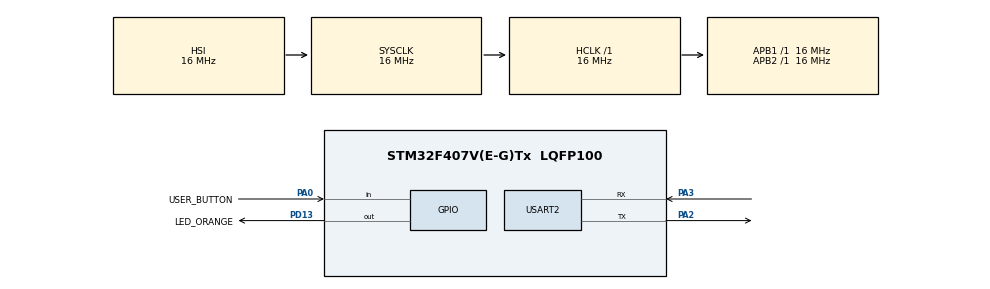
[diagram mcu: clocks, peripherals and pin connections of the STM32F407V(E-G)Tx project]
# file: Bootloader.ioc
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Mcu.Family=STM32F4
Mcu.Name=STM32F407V(E-G)Tx
Mcu.Package=LQFP100
NVIC.PriorityGroup=NVIC_PRIORITYGROUP_4
NVIC.USART2_IRQn=true\:0\:0\:false\:false\:true\:true\:true\:true
PA0-WKUP.GPIO_Label=USER_BUTTON
PA0-WKUP.GPIO_PuPd=GPIO_PULLDOWN
PA0-WKUP.Signal=GPIO_Input
PA2.Mode=Asynchronous
PA2.Signal=USART2_TX
PA3.Mode=Asynchronous
PA3.Signal=USART2_RX
PD13.GPIO_Label=LED_ORANGE
PD13.Signal=GPIO_Output
ProjectManager.HeapSize=0x200
ProjectManager.StackSize=0x400
ProjectManager.TargetToolchain=STM32CubeIDE
RCC.AHBFreq_Value=16000000
RCC.APB1Freq_Value=16000000
RCC.APB2Freq_Value=16000000
RCC.CortexFreq_Value=16000000
RCC.HSE_VALUE=25000000
RCC.HSI_VALUE=16000000
RCC.LSE_VALUE=32768
RCC.SYSCLKFreq_VALUE=16000000
RCC.VCOOutputFreq_Value=192000000
USART2.VirtualMode=VM_ASYNC
board=custom

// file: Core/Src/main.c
/* USER CODE BEGIN Header */
/**
  ******************************************************************************
  * @file           : main.c
  * @brief          : Main program body
  ******************************************************************************
  * @attention
  *
  * Copyright (c) 2025 STMicroelectronics.
  * All rights reserved.
  *
  * This software is licensed under terms that can be found in the LICENSE file
  * in the root directory of this software component.
  * If no LICENSE file comes with this software, it is provided AS-IS.
  *
  ******************************************************************************
  */
/* USER CODE END Header */
#include "main.h"

/* USER CODE BEGIN Includes */
#include <string.h>
#include <stdio.h>
/* USER CODE END Includes */

UART_HandleTypeDef huart2;

void SystemClock_Config(void);
static void MX_GPIO_Init(void);
static void MX_USART2_UART_Init(void);

/* USER CODE BEGIN 0 */

#define APPLICATION_ADDRESS   0x08008000

void bootloader_jump_to_application(void)
{
	// Function pointer type for void func(void)
	typedef void (*pFunction)(void);
	pFunction jump_to_application;
	uint32_t jump_address;

	// Get the application's reset handler address
	// From PM0214 page 40: Vector table structure
	// Offset 0x00: Initial Stack Pointer
	// Offset 0x04: Reset Handler
	jump_address = *(__IO uint32_t*)(APPLICATION_ADDRESS + 4);

	// Create function pointer
	jump_to_application = (pFunction)jump_address;

	// Deinitialize HAL (important!)
	HAL_DeInit();

	// Reset clock configuration to default (HSI)
	HAL_RCC_DeInit();

	// Disable and reset SysTick timer
	// This fixes HAL_Delay() timing issues in the application
	SysTick->CTRL = 0;      // Disable SysTick
	SysTick->LOAD = 0;      // Clear reload value
	SysTick->VAL = 0;       // Clear current value

	// Disable all interrupts
	// From PM0214 page 24: PRIMASK register
	__disable_irq();

	// Relocate vector table to application address
	// From RM0090 page 199: VTOR register
	SCB->VTOR = APPLICATION_ADDRESS;

	// Set the stack pointer to the application's initial stack pointer
	// From PM0214 page 40: First word at application address is stack pointer
	// From PM0214 page 29: MSP (Main Stack Pointer)
	__set_MSP(*(__IO uint32_t*)APPLICATION_ADDRESS);

	// Jump to application!
	jump_to_application();
}

uint8_t bootloader_erase_flash(void)
{
    HAL_StatusTypeDef status;
    uint32_t sector_error = 0;

    // From RM0090 page 75: Flash sector organization
    // Application uses sectors 2-11 (0x08008000 onwards)

    FLASH_EraseInitTypeDef erase_config;
    erase_config.TypeErase = FLASH_TYPEERASE_SECTORS;
    erase_config.VoltageRange = FLASH_VOLTAGE_RANGE_3;  // 2.7-3.6V
    erase_config.Sector = FLASH_SECTOR_2;               // Start sector
    erase_config.NbSectors = 10;                         // Erase sectors 2-11

    // Unlock flash for writing
    HAL_FLASH_Unlock();

    // Erase the sectors
    status = HAL_FLASHEx_Erase(&erase_config, &sector_error);

    // Lock flash again
    HAL_FLASH_Lock();

    if(status == HAL_OK)
    {
        return 1;  // Success
    }
    else
    {
        return 0;  // Failed
    }
}

uint8_t bootloader_write_flash(uint32_t address, uint8_t *data, uint32_t length)
{
    HAL_StatusTypeDef status;

    // Unlock flash
    HAL_FLASH_Unlock();

    // Clear any pending flash errors
    __HAL_FLASH_CLEAR_FLAG(FLASH_FLAG_EOP | FLASH_FLAG_OPERR | FLASH_FLAG_WRPERR |
                           FLASH_FLAG_PGAERR | FLASH_FLAG_PGPERR | FLASH_FLAG_PGSERR);

    // Write data word by word
    for(uint32_t i = 0; i < length; i += 4)
    {
        uint32_t word_data;
        uint32_t bytes_left = length - i;

        if(bytes_left >= 4)
        {
            word_data = (uint32_t)data[i] |
                       ((uint32_t)data[i+1] << 8) |
                       ((uint32_t)data[i+2] << 16) |
                       ((uint32_t)data[i+3] << 24);
        }
        else
        {
            word_data = 0xFFFFFFFF;
            for(uint32_t j = 0; j < bytes_left; j++)
            {
                word_data &= ~(0xFF << (j * 8));
                word_data |= ((uint32_t)data[i + j] << (j * 8));
            }
        }

        status = HAL_FLASH_Program(FLASH_TYPEPROGRAM_WORD, address + i, word_data);

        if(status != HAL_OK)
        {
            HAL_FLASH_Lock();
            return 0;
        }
    }

    HAL_FLASH_Lock();
    return 1;
}

/* USER CODE END 0 */

int main(void)
{

  /* MCU Configuration--------------------------------------------------------*/

  /* Reset of all peripherals, Initializes the Flash interface and the Systick. */
  HAL_Init();

  /* Configure the system clock */
  SystemClock_Config();

  /* Initialize all configured peripherals */
  MX_GPIO_Init();
  MX_USART2_UART_Init();
  /* USER CODE BEGIN 2 */

  // Turn on orange LED to show bootloader is running
  HAL_GPIO_WritePin(LED_ORANGE_GPIO_Port, LED_ORANGE_Pin, GPIO_PIN_SET);

  // Send message immediately on boot
  char test_msg[] = "Bootloader starting...\r\n";
  HAL_UART_Transmit(&huart2, (uint8_t*)test_msg, sizeof(test_msg)-1, 1000);

  // Small delay to let button settle
  HAL_Delay(100);

  // Check if USER button is pressed
  if(HAL_GPIO_ReadPin(USER_BUTTON_GPIO_Port, USER_BUTTON_Pin) == GPIO_PIN_SET)
  {
      // Button is pressed - stay in bootloader mode
      // Orange LED stays ON, we never jump to application

	  if(HAL_GPIO_ReadPin(USER_BUTTON_GPIO_Port, USER_BUTTON_Pin) == GPIO_PIN_SET)
	  {
	      // Button is pressed - stay in bootloader mode
		  // Orange LED stays ON, we never jump to application

		    // Send welcome message over UART
		    char* msg = "\r\n========================================\r\n";
		    HAL_UART_Transmit(&huart2, (uint8_t*)msg, strlen(msg), 1000);

		    msg = "  STM32 Bootloader v1.0\r\n";
		    HAL_UART_Transmit(&huart2, (uint8_t*)msg, strlen(msg), 1000);

		    msg = "  Ready for firmware update\r\n";
		    HAL_UART_Transmit(&huart2, (uint8_t*)msg, strlen(msg), 1000);

		    msg = "========================================\r\n";
		    HAL_UART_Transmit(&huart2, (uint8_t*)msg, strlen(msg), 1000);

		    msg = "\r\nCommands:\r\n";
		    HAL_UART_Transmit(&huart2, (uint8_t*)msg, strlen(msg), 1000);

		    msg = "  E - Erase application flash\r\n";
		    HAL_UART_Transmit(&huart2, (uint8_t*)msg, strlen(msg), 1000);

		    msg = "  W - Write firmware (Python script)\r\n";
		    HAL_UART_Transmit(&huart2, (uint8_t*)msg, strlen(msg), 1000);

		    msg = "  T - Test flash write\r\n";
		    HAL_UART_Transmit(&huart2, (uint8_t*)msg, strlen(msg), 1000);

		    msg = "  R - Reset to application\r\n";
		    HAL_UART_Transmit(&huart2, (uint8_t*)msg, strlen(msg), 1000);

		    msg = "\r\nWaiting for commands...\r\n\r\n";
		    HAL_UART_Transmit(&huart2, (uint8_t*)msg, strlen(msg), 1000);
	  }
  }
  else
  {
      // Button not pressed - jump to application after delay
      HAL_Delay(2000);

      // Turn off orange LED before jumping
      HAL_GPIO_WritePin(LED_ORANGE_GPIO_Port, LED_ORANGE_Pin, GPIO_PIN_RESET);

      // Jump to application
      bootloader_jump_to_application();
  }

  /* USER CODE END 2 */

  /* Infinite loop */
  while (1)
  {

    /* USER CODE BEGIN 3 */
	  // If we're here, we're in bootloader mode
	  // Wait for data from UART
	  uint8_t received_cmd;

	  if(HAL_UART_Receive(&huart2, &received_cmd, 1, 100) == HAL_OK)
	  {
	        // Check which command
	        if(received_cmd == 'E' || received_cmd == 'e')
	        {
	            // ERASE command
	            char* msg = "Erasing application flash...\r\n";
	            HAL_UART_Transmit(&huart2, (uint8_t*)msg, strlen(msg), 1000);

	            // Erase flash
	            uint8_t result = bootloader_erase_flash();

	            if(result == 1)
	            {
	                msg = "Erase complete - OK\r\n";
	                HAL_UART_Transmit(&huart2, (uint8_t*)msg, strlen(msg), 1000);
	            }
	            else
	            {
	                msg = "Erase failed - ERROR\r\n";
	                HAL_UART_Transmit(&huart2, (uint8_t*)msg, strlen(msg), 1000);
	            }

	            // Blink orange LED
	            HAL_GPIO_TogglePin(LED_ORANGE_GPIO_Port, LED_ORANGE_Pin);
	        }
	        else if(received_cmd == 'W' || received_cmd == 'w')
	        {
	            // WRITE command - simplified protocol
	            // Send immediate ACK so Python knows we're ready
	            char* ack = "ACK\r\n";
	            HAL_UART_Transmit(&huart2, (uint8_t*)ack, strlen(ack), 1000);

	            // Now receive 8-byte header (4 addr + 4 len) with SHORT timeout
	            uint8_t header[8];
	            HAL_StatusTypeDef status = HAL_UART_Receive(&huart2, header, 8, 2000);

	            if(status != HAL_OK)
	            {
	                char* msg = "HDR_TIMEOUT\r\n";
	                HAL_UART_Transmit(&huart2, (uint8_t*)msg, strlen(msg), 1000);
	                continue;
	            }

	            // Parse header
	            uint32_t address = (header[0]) | (header[1] << 8) | (header[2] << 16) | (header[3] << 24);
	            uint32_t length = (header[4]) | (header[5] << 8) | (header[6] << 16) | (header[7] << 24);

	            // Sanity check
	            if(length == 0 || length > 1024)
	            {
	                char msg[50];
	                sprintf(msg, "BAD_LEN:%lu\r\n", length);
	                HAL_UART_Transmit(&huart2, (uint8_t*)msg, strlen(msg), 1000);
	                continue;
	            }

	            // Send ACK for header
	            ack = "HDR_OK\r\n";
	            HAL_UART_Transmit(&huart2, (uint8_t*)ack, strlen(ack), 1000);

	            // Receive data with timeout based on length
	            uint8_t data_buffer[1024];
	            uint32_t timeout = 2000 + (length / 10);  // 2s base + extra for data
	            status = HAL_UART_Receive(&huart2, data_buffer, length, timeout);

	            if(status != HAL_OK)
	            {
	                char* msg = "DATA_TIMEOUT\r\n";
	                HAL_UART_Transmit(&huart2, (uint8_t*)msg, strlen(msg), 1000);
	                continue;
	            }

	            // Write to flash (without debug spam)
	            uint8_t result = bootloader_write_flash(address, data_buffer, length);

	            if(result == 1)
	            {
	                // Success - just send OK
	                char* msg = "OK\r\n";
	                HAL_UART_Transmit(&huart2, (uint8_t*)msg, strlen(msg), 1000);
	            }
	            else
	            {
	                char* msg = "WRITE_FAIL\r\n";
	                HAL_UART_Transmit(&huart2, (uint8_t*)msg, strlen(msg), 1000);
	            }

	            HAL_GPIO_TogglePin(LED_ORANGE_GPIO_Port, LED_ORANGE_Pin);
	        }
	        else if(received_cmd == 'T' || received_cmd == 't')
	        {
	            // TEST command - write simple test pattern
	            char* msg = "Testing flash write with pattern...\r\n";
	            HAL_UART_Transmit(&huart2, (uint8_t*)msg, strlen(msg), 1000);

	            // Simple test data
	            uint8_t test_pattern[16] = {0x11, 0x22, 0x33, 0x44, 0x55, 0x66, 0x77, 0x88,
	                                         0x99, 0xAA, 0xBB, 0xCC, 0xDD, 0xEE, 0xFF, 0x00};

	            // Write directly using HAL
	            HAL_FLASH_Unlock();

	            HAL_StatusTypeDef status;
	            for(int i = 0; i < 4; i++)  // Write 4 words (16 bytes)
	            {
	                uint32_t word = (test_pattern[i*4]) |
	                               (test_pattern[i*4+1] << 8) |
	                               (test_pattern[i*4+2] << 16) |
	                               (test_pattern[i*4+3] << 24);

	                status = HAL_FLASH_Program(FLASH_TYPEPROGRAM_WORD, APPLICATION_ADDRESS + (i*4), word);

	                char status_msg[50];
	                sprintf(status_msg, "Word %d: status=%d\r\n", i, status);
	                HAL_UART_Transmit(&huart2, (uint8_t*)status_msg, strlen(status_msg), 1000);
	            }

	            HAL_FLASH_Lock();

	            msg = "Test write complete\r\n";
	            HAL_UART_Transmit(&huart2, (uint8_t*)msg, strlen(msg), 1000);

	            HAL_GPIO_TogglePin(LED_ORANGE_GPIO_Port, LED_ORANGE_Pin);
	        }
	        else if(received_cmd == 'R' || received_cmd == 'r')
	        {
	            // RESET command - jump to application
	            char* msg = "Resetting to application...\r\n";
	            HAL_UART_Transmit(&huart2, (uint8_t*)msg, strlen(msg), 1000);

	            HAL_Delay(100);

	            // Turn off orange LED
	            HAL_GPIO_WritePin(LED_ORANGE_GPIO_Port, LED_ORANGE_Pin, GPIO_PIN_RESET);

	            // Jump to application
	            bootloader_jump_to_application();
	        }
	        else
	        {
	            // Unknown command - echo back
	            char response[50];
	            sprintf(response, "Received: 0x%02X - OK\r\n", received_cmd);
	            HAL_UART_Transmit(&huart2, (uint8_t*)response, strlen(response), 1000);

	            HAL_GPIO_TogglePin(LED_ORANGE_GPIO_Port, LED_ORANGE_Pin);
	        }
	  }
  }
  /* USER CODE END 3 */
}

void SystemClock_Config(void)
{
  RCC_OscInitTypeDef RCC_OscInitStruct = {0};
  RCC_ClkInitTypeDef RCC_ClkInitStruct = {0};

  /** Configure the main internal regulator output voltage
  */
  __HAL_RCC_PWR_CLK_ENABLE();
  __HAL_PWR_VOLTAGESCALING_CONFIG(PWR_REGULATOR_VOLTAGE_SCALE1);

  /** Initializes the RCC Oscillators according to the specified parameters
  * in the RCC_OscInitTypeDef structure.
  */
  RCC_OscInitStruct.OscillatorType = RCC_OSCILLATORTYPE_HSI;
  RCC_OscInitStruct.HSIState = RCC_HSI_ON;
  RCC_OscInitStruct.HSICalibrationValue = RCC_HSICALIBRATION_DEFAULT;
  RCC_OscInitStruct.PLL.PLLState = RCC_PLL_NONE;
  if (HAL_RCC_OscConfig(&RCC_OscInitStruct) != HAL_OK)
  {
    Error_Handler();
  }

  /** Initializes the CPU, AHB and APB buses clocks
  */
  RCC_ClkInitStruct.ClockType = RCC_CLOCKTYPE_HCLK|RCC_CLOCKTYPE_SYSCLK
                              |RCC_CLOCKTYPE_PCLK1|RCC_CLOCKTYPE_PCLK2;
  RCC_ClkInitStruct.SYSCLKSource = RCC_SYSCLKSOURCE_HSI;
  RCC_ClkInitStruct.AHBCLKDivider = RCC_SYSCLK_DIV1;
  RCC_ClkInitStruct.APB1CLKDivider = RCC_HCLK_DIV1;
  RCC_ClkInitStruct.APB2CLKDivider = RCC_HCLK_DIV1;

  if (HAL_RCC_ClockConfig(&RCC_ClkInitStruct, FLASH_LATENCY_0) != HAL_OK)
  {
    Error_Handler();
  }
}

static void MX_USART2_UART_Init(void)
{

  /* USER CODE BEGIN USART2_Init 1 */

	// Enable USART2 clock
	__HAL_RCC_USART2_CLK_ENABLE();

	// Enable GPIOA clock for UART pins
	__HAL_RCC_GPIOA_CLK_ENABLE();

	// Configure PA2 (TX) and PA3 (RX)
	GPIO_InitTypeDef GPIO_InitStruct = {0};

	GPIO_InitStruct.Pin = GPIO_PIN_2 | GPIO_PIN_3;
	GPIO_InitStruct.Mode = GPIO_MODE_AF_PP;
	GPIO_InitStruct.Pull = GPIO_NOPULL;
	GPIO_InitStruct.Speed = GPIO_SPEED_FREQ_VERY_HIGH;
	GPIO_InitStruct.Alternate = GPIO_AF7_USART2;
	HAL_GPIO_Init(GPIOA, &GPIO_InitStruct);

  /* USER CODE END USART2_Init 1 */
  huart2.Instance = USART2;
  huart2.Init.BaudRate = 115200;
  huart2.Init.WordLength = UART_WORDLENGTH_8B;
  huart2.Init.StopBits = UART_STOPBITS_1;
  huart2.Init.Parity = UART_PARITY_NONE;
  huart2.Init.Mode = UART_MODE_TX_RX;
  huart2.Init.HwFlowCtl = UART_HWCONTROL_NONE;
  huart2.Init.OverSampling = UART_OVERSAMPLING_16;
  if (HAL_UART_Init(&huart2) != HAL_OK)
  {
    Error_Handler();
  }

}

static void MX_GPIO_Init(void)
{
  GPIO_InitTypeDef GPIO_InitStruct = {0};

  /* GPIO Ports Clock Enable */
  __HAL_RCC_GPIOA_CLK_ENABLE();
  __HAL_RCC_GPIOD_CLK_ENABLE();

  /*Configure GPIO pin Output Level */
  HAL_GPIO_WritePin(LED_ORANGE_GPIO_Port, LED_ORANGE_Pin, GPIO_PIN_RESET);

  /*Configure GPIO pin : USER_BUTTON_Pin */
  GPIO_InitStruct.Pin = USER_BUTTON_Pin;
  GPIO_InitStruct.Mode = GPIO_MODE_INPUT;
  GPIO_InitStruct.Pull = GPIO_PULLDOWN;
  HAL_GPIO_Init(USER_BUTTON_GPIO_Port, &GPIO_InitStruct);

  /*Configure GPIO pin : LED_ORANGE_Pin */
  GPIO_InitStruct.Pin = LED_ORANGE_Pin;
  GPIO_InitStruct.Mode = GPIO_MODE_OUTPUT_PP;
  GPIO_InitStruct.Pull = GPIO_NOPULL;
  GPIO_InitStruct.Speed = GPIO_SPEED_FREQ_LOW;
  HAL_GPIO_Init(LED_ORANGE_GPIO_Port, &GPIO_InitStruct);

}

void Error_Handler(void)
{
  __disable_irq();
  while (1)
  {
  }
}
